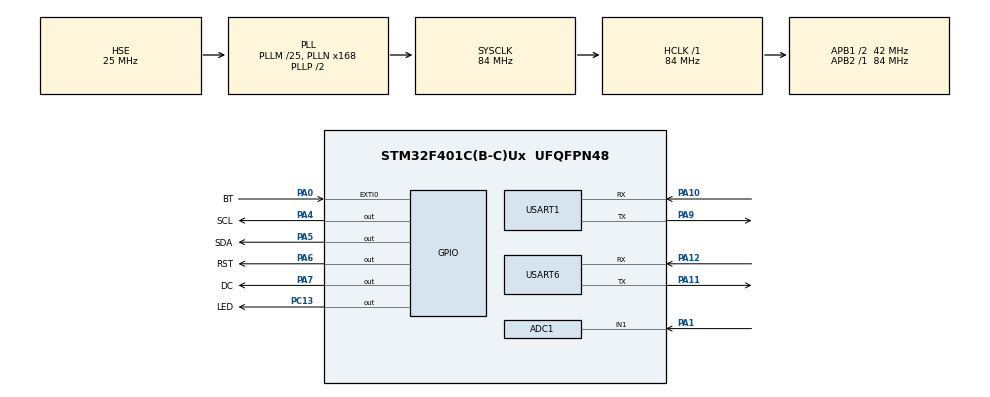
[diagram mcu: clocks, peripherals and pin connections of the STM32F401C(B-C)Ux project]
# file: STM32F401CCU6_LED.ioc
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ADC1.Channel-7\#ChannelRegularConversion=ADC_CHANNEL_1
ADC1.ContinuousConvMode=ENABLE
ADC1.InjNumberOfConversion=0
ADC1.NbrOfConversion=1
ADC1.NbrOfConversionFlag=1
ADC1.Rank-7\#ChannelRegularConversion=1
ADC1.SamplingTime-7\#ChannelRegularConversion=ADC_SAMPLETIME_15CYCLES
ADC1.ScanConvMode=DISABLE
ADC1.master=1
FREERTOS.Tasks01=defaultTask,24,128,StartDefaultTask,Default,NULL,Dynamic,NULL,NULL;myTask02,8,128,StartTask02,Default,NULL,Dynamic,NULL,NULL;myTask03,8,128,StartTask03,Default,NULL,Dynamic,NULL,NULL;myTask04,8,128,StartTask04,Default,NULL,Dynamic,NULL,NULL
Mcu.Family=STM32F4
Mcu.Name=STM32F401C(B-C)Ux
Mcu.Package=UFQFPN48
NVIC.ADC_IRQn=true\:5\:0\:false\:false\:true\:true\:true\:true
NVIC.EXTI0_IRQn=true\:5\:0\:false\:false\:true\:true\:true\:true
NVIC.PriorityGroup=NVIC_PRIORITYGROUP_4
NVIC.TIM1_UP_TIM10_IRQn=true\:15\:0\:false\:false\:true\:false\:false\:true
NVIC.TimeBase=TIM1_UP_TIM10_IRQn
NVIC.TimeBaseIP=TIM10
PA0-WKUP.GPIO_Label=BT
PA0-WKUP.GPIO_ModeDefaultEXTI=GPIO_MODE_IT_FALLING
PA0-WKUP.GPIO_PuPd=GPIO_PULLUP
PA0-WKUP.Signal=GPXTI0
PA1.Signal=ADCx_IN1
PA10.Mode=Asynchronous
PA10.Signal=USART1_RX
PA11.Mode=Asynchronous
PA11.Signal=USART6_TX
PA12.Mode=Asynchronous
PA12.Signal=USART6_RX
PA13.Mode=Serial_Wire
PA13.Signal=SYS_JTMS-SWDIO
PA14.Mode=Serial_Wire
PA14.Signal=SYS_JTCK-SWCLK
PA4.GPIO_Label=SCL
PA4.Signal=GPIO_Output
PA5.GPIO_Label=SDA
PA5.Signal=GPIO_Output
PA6.GPIO_Label=RST
PA6.Signal=GPIO_Output
PA7.GPIO_Label=DC
PA7.Signal=GPIO_Output
PA9.Mode=Asynchronous
PA9.Signal=USART1_TX
PC13-ANTI_TAMP.GPIO_Label=LED
PC13-ANTI_TAMP.Signal=GPIO_Output
PH0\ -\ OSC_IN.Mode=HSE-External-Oscillator
PH0\ -\ OSC_IN.Signal=RCC_OSC_IN
PH1\ -\ OSC_OUT.Mode=HSE-External-Oscillator
PH1\ -\ OSC_OUT.Signal=RCC_OSC_OUT
ProjectManager.HeapSize=0x200
ProjectManager.StackSize=0x400
ProjectManager.TargetToolchain=MDK-ARM V5.32
RCC.48MHZClocksFreq_Value=42000000
RCC.AHBFreq_Value=84000000
RCC.APB1CLKDivider=RCC_HCLK_DIV2
RCC.APB1Freq_Value=42000000
RCC.APB1TimFreq_Value=84000000
RCC.APB2Freq_Value=84000000
RCC.APB2TimFreq_Value=84000000
RCC.CortexFreq_Value=84000000
RCC.HCLKFreq_Value=84000000
RCC.HSE_VALUE=25000000
RCC.HSI_VALUE=16000000
RCC.LSE_VALUE=32768
RCC.PLLM=25
RCC.PLLN=168
RCC.PLLSourceVirtual=RCC_PLLSOURCE_HSE
RCC.SYSCLKFreq_VALUE=84000000
RCC.SYSCLKSource=RCC_SYSCLKSOURCE_PLLCLK
RCC.VCOOutputFreq_Value=168000000
SH.ADCx_IN1.0=ADC1_IN1,IN1
USART1.VirtualMode=VM_ASYNC
USART6.VirtualMode=VM_ASYNC
VP_FREERTOS_VS_CMSIS_V2.Mode=CMSIS_V2
VP_SYS_VS_tim10.Mode=TIM10
board=custom

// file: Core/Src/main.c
/* USER CODE BEGIN Header */
/**
  ******************************************************************************
  * @file           : main.c
  * @brief          : Main program body
  ******************************************************************************
  * @attention
  *
  * Copyright (c) 2022 STMicroelectronics.
  * All rights reserved.
  *
  * This software is licensed under terms that can be found in the LICENSE file
  * in the root directory of this software component.
  * If no LICENSE file comes with this software, it is provided AS-IS.
  *
  ******************************************************************************
  */
/* USER CODE END Header */
#include "main.h"
#include "cmsis_os.h"
#include "adc.h"
#include "usart.h"
#include "gpio.h"

/* USER CODE BEGIN Includes */

#include "bsp_led.h"
#include "bsp_uart.h "
#include "OLED.h"
/* USER CODE END Includes */

void SystemClock_Config(void);
void MX_FREERTOS_Init(void);

/* USER CODE BEGIN 0 */

uint16_t times = 0;
uint8_t  bt_flag = 0;
void HAL_GPIO_EXTI_Callback(uint16_t GPIO_Pin)
{
	if(GPIO_Pin == BT_Pin){
		L_TOOGLE;
	}
}

float adc_val = 0.0;
void HAL_ADC_ConvCpltCallback(ADC_HandleTypeDef* hadc)
{
	adc_val = HAL_ADC_GetValue(&hadc1);
	adc_val = (float)adc_val / (float)4096.0 * (float)3.3;
}

/* USER CODE END 0 */

int main(void)
{

  /* MCU Configuration--------------------------------------------------------*/

  /* Reset of all peripherals, Initializes the Flash interface and the Systick. */
  HAL_Init();

  /* Configure the system clock */
  SystemClock_Config();

  /* Initialize all configured peripherals */
  MX_GPIO_Init();
  MX_USART6_UART_Init();
  MX_ADC1_Init();
  MX_USART1_UART_Init();
  /* USER CODE BEGIN 2 */
  LCD_Init();
  /* USER CODE END 2 */

  /* Init scheduler */
  osKernelInitialize();  /* Call init function for freertos objects (in freertos.c) */
  MX_FREERTOS_Init();
  /* Start scheduler */
  osKernelStart();

  /* We should never get here as control is now taken by the scheduler */
  /* Infinite loop */
  while (1)
  {

  }
}

void SystemClock_Config(void)
{
  RCC_OscInitTypeDef RCC_OscInitStruct = {0};
  RCC_ClkInitTypeDef RCC_ClkInitStruct = {0};

  /** Configure the main internal regulator output voltage
  */
  __HAL_RCC_PWR_CLK_ENABLE();
  __HAL_PWR_VOLTAGESCALING_CONFIG(PWR_REGULATOR_VOLTAGE_SCALE2);
  /** Initializes the RCC Oscillators according to the specified parameters
  * in the RCC_OscInitTypeDef structure.
  */
  RCC_OscInitStruct.OscillatorType = RCC_OSCILLATORTYPE_HSE;
  RCC_OscInitStruct.HSEState = RCC_HSE_ON;
  RCC_OscInitStruct.PLL.PLLState = RCC_PLL_ON;
  RCC_OscInitStruct.PLL.PLLSource = RCC_PLLSOURCE_HSE;
  RCC_OscInitStruct.PLL.PLLM = 25;
  RCC_OscInitStruct.PLL.PLLN = 168;
  RCC_OscInitStruct.PLL.PLLP = RCC_PLLP_DIV2;
  RCC_OscInitStruct.PLL.PLLQ = 4;
  if (HAL_RCC_OscConfig(&RCC_OscInitStruct) != HAL_OK)
  {
    Error_Handler();
  }
  /** Initializes the CPU, AHB and APB buses clocks
  */
  RCC_ClkInitStruct.ClockType = RCC_CLOCKTYPE_HCLK|RCC_CLOCKTYPE_SYSCLK
                              |RCC_CLOCKTYPE_PCLK1|RCC_CLOCKTYPE_PCLK2;
  RCC_ClkInitStruct.SYSCLKSource = RCC_SYSCLKSOURCE_PLLCLK;
  RCC_ClkInitStruct.AHBCLKDivider = RCC_SYSCLK_DIV1;
  RCC_ClkInitStruct.APB1CLKDivider = RCC_HCLK_DIV2;
  RCC_ClkInitStruct.APB2CLKDivider = RCC_HCLK_DIV1;

  if (HAL_RCC_ClockConfig(&RCC_ClkInitStruct, FLASH_LATENCY_2) != HAL_OK)
  {
    Error_Handler();
  }
}

void HAL_TIM_PeriodElapsedCallback(TIM_HandleTypeDef *htim)
{
  if (htim->Instance == TIM10) {
    HAL_IncTick();
  }
}

void Error_Handler(void)
{
  __disable_irq();
  while (1)
  {
  }
}

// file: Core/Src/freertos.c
/* USER CODE BEGIN Header */
/**
  ******************************************************************************
  * File Name          : freertos.c
  * Description        : Code for freertos applications
  ******************************************************************************
  * @attention
  *
  * Copyright (c) 2022 STMicroelectronics.
  * All rights reserved.
  *
  * This software is licensed under terms that can be found in the LICENSE file
  * in the root directory of this software component.
  * If no LICENSE file comes with this software, it is provided AS-IS.
  *
  ******************************************************************************
  */
/* USER CODE END Header */

#include "FreeRTOS.h"
#include "task.h"
#include "main.h"
#include "cmsis_os.h"

/* USER CODE BEGIN Includes */
#include "menu.h"
#include "bsp_led.h"
#include "bsp_uart.h"

/* USER CODE END Includes */

/* Definitions for defaultTask */
osThreadId_t defaultTaskHandle;
const osThreadAttr_t defaultTask_attributes = {
  .name = "defaultTask",
  .stack_size = 128 * 4,
  .priority = (osPriority_t) osPriorityNormal,
};
/* Definitions for myTask02 */
osThreadId_t myTask02Handle;
const osThreadAttr_t myTask02_attributes = {
  .name = "myTask02",
  .stack_size = 128 * 4,
  .priority = (osPriority_t) osPriorityLow,
};
/* Definitions for myTask03 */
osThreadId_t myTask03Handle;
const osThreadAttr_t myTask03_attributes = {
  .name = "myTask03",
  .stack_size = 128 * 4,
  .priority = (osPriority_t) osPriorityLow,
};
/* Definitions for myTask04 */
osThreadId_t myTask04Handle;
const osThreadAttr_t myTask04_attributes = {
  .name = "myTask04",
  .stack_size = 128 * 4,
  .priority = (osPriority_t) osPriorityLow,
};

void StartDefaultTask(void *argument);
void StartTask02(void *argument);
void StartTask03(void *argument);
void StartTask04(void *argument);

void MX_FREERTOS_Init(void); /* (MISRA C 2004 rule 8.1) */

void MX_FREERTOS_Init(void) {

  /* Create the thread(s) */
  /* creation of defaultTask */
  defaultTaskHandle = osThreadNew(StartDefaultTask, NULL, &defaultTask_attributes);

  /* creation of myTask02 */
  myTask02Handle = osThreadNew(StartTask02, NULL, &myTask02_attributes);

  /* creation of myTask03 */
  myTask03Handle = osThreadNew(StartTask03, NULL, &myTask03_attributes);

  /* creation of myTask04 */
  myTask04Handle = osThreadNew(StartTask04, NULL, &myTask04_attributes);

}

void StartDefaultTask(void *argument)
{
  /* USER CODE BEGIN StartDefaultTask */

    LCD_Print(0, 0, "���ܼҾӹ���ϵͳ",TYPE16X16,TYPE8X16);
    vTaskDelay(1000);
    LCD_CLS();

    LCD_Print(0, 0, "��»�",TYPE16X16,TYPE8X16);
    vTaskDelay(1000);
	LCD_CLS();
	LCD_Print(20, 0, "-->��һ��",TYPE16X16,TYPE8X16);
    vTaskDelay(1000);
    LCD_CLS();

  /* Infinite loop */
  for(;;)
  {
    #if 0
      osDelay(1);
    #else
       Dis_Page(myStrPtr);
	  vTaskDelay(1000);
    #endif
  }
  /* USER CODE END StartDefaultTask */
}

void StartTask02(void *argument)
{
  /* USER CODE BEGIN StartTask02 */
  /* Infinite loop */
  for(;;)
  {
	  L_TOOGLE;
    vTaskDelay(1000);
  }
  /* USER CODE END StartTask02 */
}

void StartTask03(void *argument)
{
  /* USER CODE BEGIN StartTask03 */
  /* Infinite loop */
  for(;;)
  {

	  vTaskDelay(1000);
    osDelay(1);
  }
  /* USER CODE END StartTask03 */
}

void StartTask04(void *argument)
{
  for(;;)
  {
    osDelay(1);
  }
}
